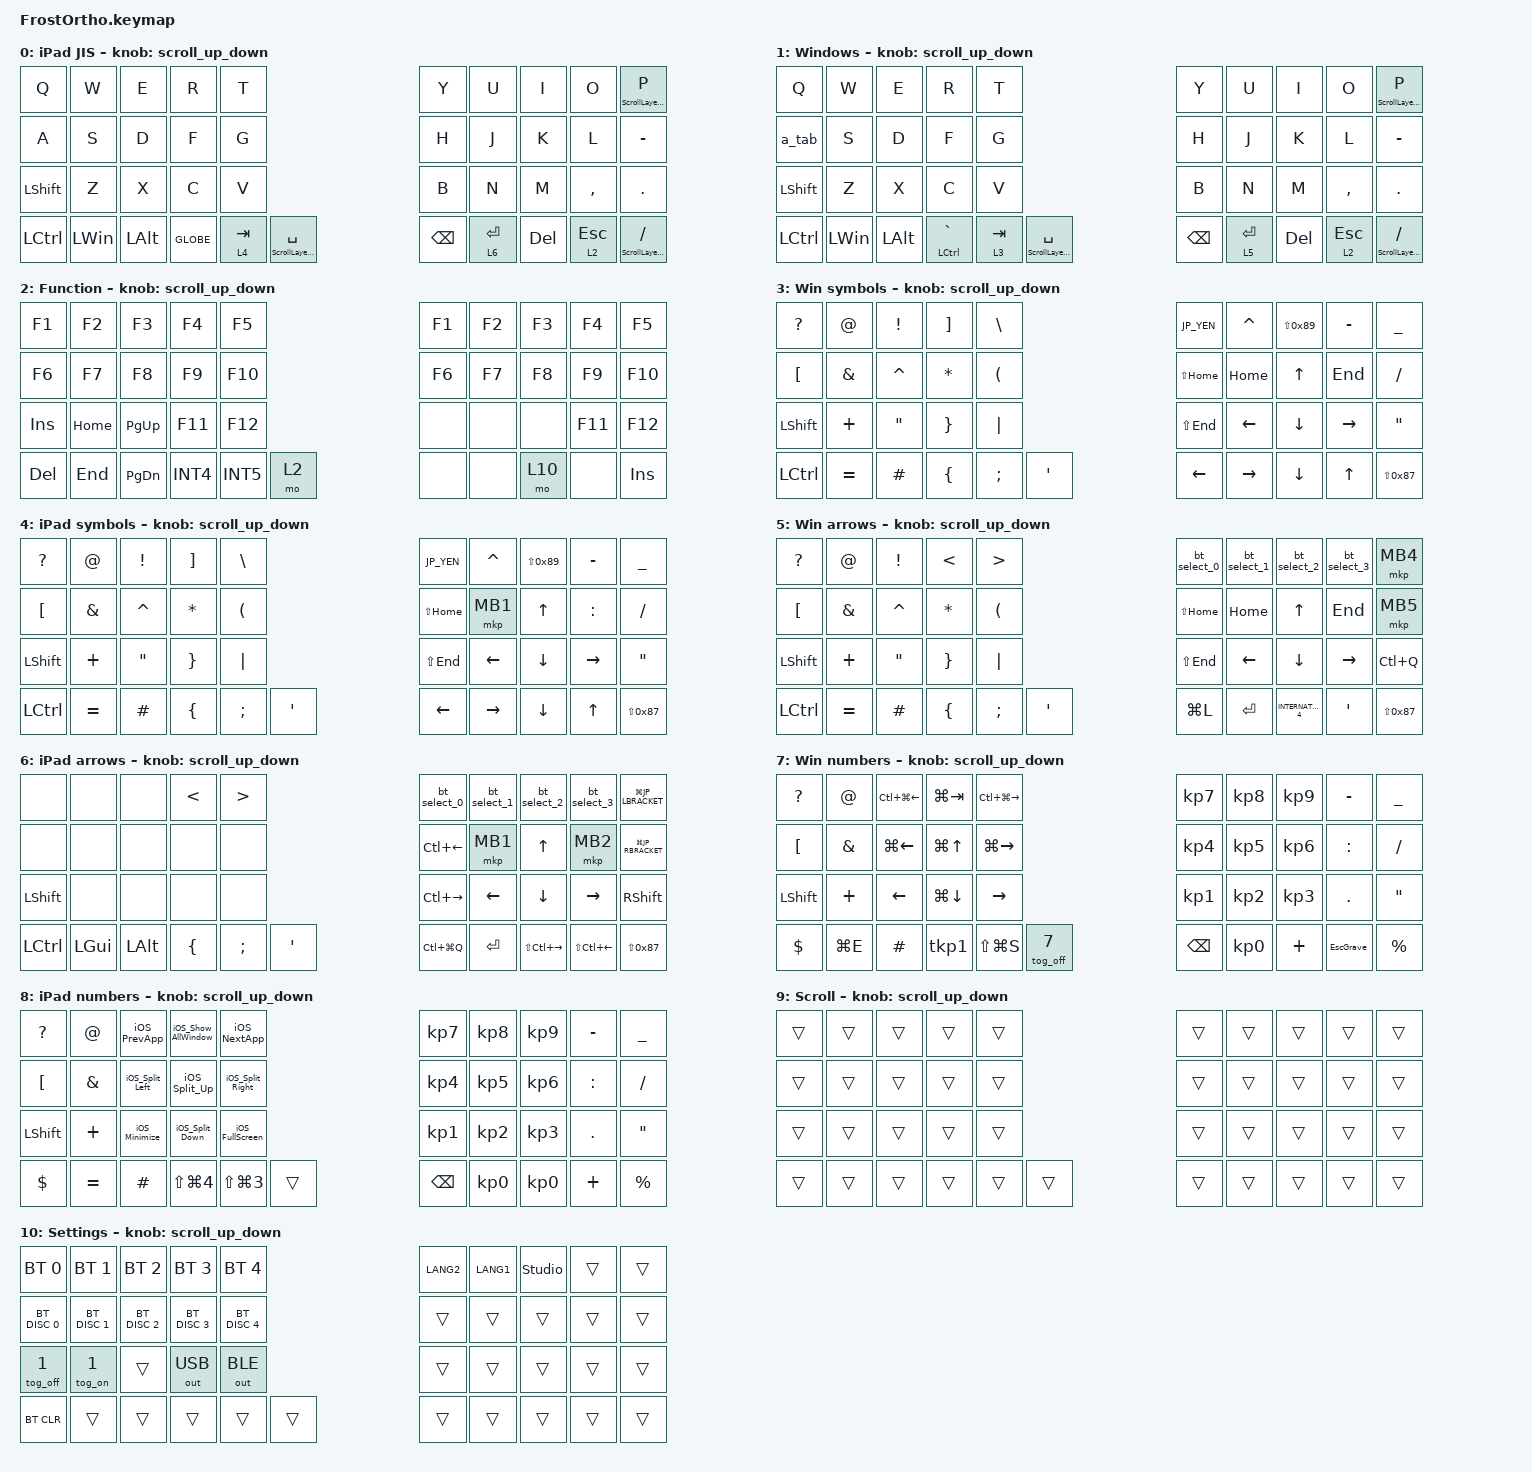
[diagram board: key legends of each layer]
#include <input/processors.dtsi>
#include <behaviors.dtsi>
#include <dt-bindings/zmk/bt.h>
#include <dt-bindings/zmk/keys.h>
#include <dt-bindings/zmk/outputs.h>
#include <dt-bindings/zmk/pointing.h>

// ---- Japanese keycode aliases (kept inline for KeymapEditor) ----
// OS設定を日本語キーボードのまま使用するための変換定義

#define JP_DQUOTE       AT                // "
#define JP_AMPERSAND    CARET             // &
#define JP_QUOTE        AMPERSAND         // '
#define JP_EQUAL        UNDER             // =
#define JP_CARET        EQUAL             // ^
#define JP_YEN          0x89              // ¥
#define JP_PLUS         COLON             // +
#define JP_TILDE        PLUS              // ~
#define JP_PIPE         LS(0x89)          // |
#define JP_AT           LEFT_BRACKET      // @
#define JP_COLON        SINGLE_QUOTE      // :
#define JP_ASTERISK     DOUBLE_QUOTES     // *
#define JP_BACKQUOTE    LEFT_BRACE        // `
#define JP_UNDERSCORE   LS(0x87)          // _
#define JP_LBRACKET     RIGHT_BRACKET     // [
#define JP_RBRACKET     BACKSLASH         // ]
#define JP_LPAREN       ASTERISK          // (
#define JP_RPAREN       LEFT_PARENTHESIS  // )
#define JP_LBRACE       RIGHT_BRACE       // {
#define JP_RBRACE       PIPE              // }
#define JP_KANA         LANGUAGE_1        // かな
#define JP_EISU         LANGUAGE_2        // 英数
#define JP_HANZEN       GRAVE             // 半角/全角

&mt {
    flavor = "balanced";
    quick-tap-ms = <0>;
};

&lt { flavor = "balanced"; };

// ---- Combos (kept inline for KeymapEditor) ----

/ {
    combos {
        compatible = "zmk,combos";

        esc {
            bindings = <&kp ESC>;
            key-positions = <0 1>;
        };

        Left_Click {
            bindings = <&mkp MB1>;
            key-positions = <16 17>;
        };

        Right_Click {
            bindings = <&mkp MB2>;
            key-positions = <18 17>;
        };

        Underbar {
            bindings = <&kp JP_UNDERSCORE>;
            key-positions = <24 14>;
        };

        Pipe {
            bindings = <&kp JP_PIPE>;
            key-positions = <13 3>;
        };

        WindowClose {
            layers = <0 4 6 8>;
            bindings = <&kp LG(W)>;
            key-positions = <8 7 9 6>;
        };

        WindowClose_win {
            layers = <1 3 5 7>;
            bindings = <&window_close>;
            key-positions = <8 7 9 6>;
        };

        ContextMenu {
            bindings = <&kp K_CONTEXT_MENU>;
            key-positions = <27 28>;
        };

        Equal {
            bindings = <&kp JP_EQUAL>;
            key-positions = <24 23>;
        };

        percent {
            bindings = <&kp PERCENT>;
            key-positions = <14 13>;
        };

        mb3 {
            bindings = <&mkp MB3>;
            key-positions = <18 17 16>;
        };

        Asterisk {
            bindings = <&kp JP_ASTERISK>;
            key-positions = <13 23>;
        };
    };
};

// ---- Macros (kept inline for KeymapEditor) ----

/ {
    macros {
        to_layer_0: to_layer_0 {
            compatible = "zmk,behavior-macro-one-param";
            #binding-cells = <1>;
            bindings = <&to 0 &macro_param_1to1 &kp MACRO_PLACEHOLDER>;
            label = "TO_LAYER_0";
        };

        tkp1: tkp1 {
            compatible = "zmk,behavior-macro";
            #binding-cells = <0>;
            bindings = <&kp LS(T) &kp R>;
            label = "TKP1";
        };

        window_close: window_close {
            compatible = "zmk,behavior-macro";
            #binding-cells = <0>;
            bindings =
                <&macro_press>,
                <&kp LEFT_ALT>,
                <&macro_wait_time 500>,
                <&macro_tap>,
                <&kp F4>,
                <&macro_wait_time 500>,
                <&macro_release>,
                <&kp LEFT_ALT>;

            label = "WINDOW_CLOSE";
        };

        bt_select_0: bt_select_0 {
            compatible = "zmk,behavior-macro";
            #binding-cells = <0>;
            bindings = <&bt BT_SEL 0>;

            label = "BT_SELECT_0";
        };

        bt_select_1: bt_select_1 {
            compatible = "zmk,behavior-macro";
            #binding-cells = <0>;
            bindings = <&bt BT_SEL 1>;

            label = "BT_SELECT_1";
        };

        bt_select_2: bt_select_2 {
            compatible = "zmk,behavior-macro";
            #binding-cells = <0>;
            bindings = <&bt BT_SEL 2>;

            label = "BT_SELECT_2";
        };

        ScrollLayer_win: ScrollLayer_win {
            compatible = "zmk,behavior-macro";
            #binding-cells = <0>;
            bindings =
                <&tog_on 7>,
                <&macro_wait_time 100>,
                <&tog_on 9>,
                <&macro_pause_for_release>,
                <&tog_off 7>,
                <&macro_wait_time 100>,
                <&tog_off 9>;

            label = "SCROLLLAYER_WIN";
        };

        ScrollLayer_iOS: ScrollLayer_iOS {
            compatible = "zmk,behavior-macro";
            #binding-cells = <0>;
            bindings =
                <&tog_on 8>,
                <&macro_wait_time 100>,
                <&tog_on 9>,
                <&macro_pause_for_release>,
                <&tog_off 8>,
                <&macro_wait_time 100>,
                <&tog_off 9>;

            label = "SCROLLLAYER_IOS";
        };

        iOS_FullScreen: iOS_FullScreen {
            compatible = "zmk,behavior-macro";
            #binding-cells = <0>;
            bindings =
                <&macro_press>,
                <&kp GLOBE>,
                <&macro_tap>,
                <&kp F>,
                <&macro_release>,
                <&kp GLOBE>;

            label = "IOS_FULLSCREEN";
        };

        iOS_Minimize: iOS_Minimize {
            compatible = "zmk,behavior-macro";
            #binding-cells = <0>;
            bindings =
                <&macro_press>,
                <&kp GLOBE>,
                <&macro_tap>,
                <&kp M>,
                <&macro_release>,
                <&kp GLOBE>;

            label = "IOS_MINIMIZE";
        };

        iOS_Split_Left: iOS_Split_Left {
            compatible = "zmk,behavior-macro";
            #binding-cells = <0>;
            bindings =
                <&macro_press>,
                <&kp LCTRL &kp GLOBE>,
                <&macro_tap>,
                <&kp LEFT_ARROW>,
                <&macro_release>,
                <&kp LCTRL &kp GLOBE>;

            label = "IOS_SPLIT_LEFT";
        };

        iOS_Split_Right: iOS_Split_Right {
            compatible = "zmk,behavior-macro";
            #binding-cells = <0>;
            bindings =
                <&macro_press>,
                <&kp LCTRL &kp GLOBE>,
                <&macro_tap>,
                <&kp RIGHT_ARROW>,
                <&macro_release>,
                <&kp LCTRL &kp GLOBE>;

            label = "IOS_SPLIT_RIGHT";
        };

        iOS_Split_Up: iOS_Split_Up {
            compatible = "zmk,behavior-macro";
            #binding-cells = <0>;
            bindings =
                <&macro_press>,
                <&kp LCTRL &kp GLOBE>,
                <&macro_tap>,
                <&kp UP_ARROW>,
                <&macro_release>,
                <&kp LCTRL &kp GLOBE>;

            label = "IOS_SPLIT_UP";
        };

        iOS_Split_Down: iOS_Split_Down {
            compatible = "zmk,behavior-macro";
            #binding-cells = <0>;
            bindings =
                <&macro_press>,
                <&kp LCTRL &kp GLOBE>,
                <&macro_tap>,
                <&kp DOWN_ARROW>,
                <&macro_release>,
                <&kp LCTRL &kp GLOBE>;

            label = "IOS_SPLIT_DOWN";
        };

        iOS_Show_AllWindow: iOS_Show_AllWindow {
            compatible = "zmk,behavior-macro";
            #binding-cells = <0>;
            bindings =
                <&macro_press>,
                <&kp GLOBE>,
                <&macro_tap>,
                <&kp UP_ARROW>,
                <&macro_release>,
                <&kp GLOBE>;

            label = "IOS_SHOW_ALLWINDOW";
        };

        iOS_NextApp: iOS_NextApp {
            compatible = "zmk,behavior-macro";
            #binding-cells = <0>;
            bindings =
                <&macro_press>,
                <&kp GLOBE>,
                <&macro_tap>,
                <&kp RIGHT_ARROW>,
                <&macro_release>,
                <&kp GLOBE>;

            label = "IOS_NEXTAPP";
        };

        iOS_PrevApp: iOS_PrevApp {
            compatible = "zmk,behavior-macro";
            #binding-cells = <0>;
            bindings =
                <&macro_press>,
                <&kp GLOBE>,
                <&macro_tap>,
                <&kp LEFT_ARROW>,
                <&macro_release>,
                <&kp GLOBE>;

            label = "IOS_PREVAPP";
        };

        bt_select_3: bt_select_3 {
            compatible = "zmk,behavior-macro";
            #binding-cells = <0>;
            bindings = <&bt BT_SEL 3>;

            label = "BT_SELECT_3";
        };

        EscGrave: EscGrave {
            compatible = "zmk,behavior-macro";
            #binding-cells = <0>;
            bindings = <&kp ESCAPE>, <&macro_wait_time 200>, <&kp GRAVE>;

            label = "ESCGRAVE";
        };
    };
};

// ---- Custom behaviors (kept inline for KeymapEditor) ----

/ {
    behaviors {
        lt_to_layer_0: lt_to_layer_0 {
            compatible = "zmk,behavior-hold-tap";
            label = "LAYER_TAP_TO_0";
            bindings = <&mo>, <&to_layer_0>;

            #binding-cells = <2>;
            tapping-term-ms = <200>;
        };

        scroll_up_down: behavior_sensor_rotate_mouse_wheel_up_down {
            compatible = "zmk,behavior-sensor-rotate";
            #sensor-binding-cells = <0>;

            // Two fixed wheel units per detent; keep the confirmed direction.

            bindings = <&enc_whl 1>, <&enc_whl 0>;

            tap-ms = <0>;
        };

        enc_whl: encoder_wheel_step {
            compatible = "primeorb,behavior-wheel-step";
            #binding-cells = <1>;
            display-name = "Encoder wheel step (0 down, 1 up)";
        };

        tog_on: toggle_layer_on_only {
            compatible = "zmk,behavior-toggle-layer";
            #binding-cells = <1>;
            display-name = "Toggle Layer On";
            toggle-mode = "on";
        };

        tog_off: toggle_layer_off_only {
            compatible = "zmk,behavior-toggle-layer";
            #binding-cells = <1>;
            display-name = "Toggle Layer Off";
            toggle-mode = "off";
        };

        lt_ScrollLayer_win: lt_ScrollLayer_win {
            compatible = "zmk,behavior-hold-tap";
            label = "LT_SCROLLLAYER_WIN";
            bindings = <&ScrollLayer_win>, <&kp>;

            #binding-cells = <2>;
            tapping-term-ms = <200>;
            flavor = "tap-preferred";
        };

        lt_ScrollLayer_iOS: lt_ScrollLayer_iOS {
            compatible = "zmk,behavior-hold-tap";
            label = "LT_SCROLLLAYER_IOS";
            bindings = <&ScrollLayer_iOS>, <&kp>;

            #binding-cells = <2>;
            tapping-term-ms = <200>;
            flavor = "tap-preferred";
        };

        a_tab: a_tab {
            compatible = "zmk,behavior-mod-morph";
            label = "A_TAB";
            bindings = <&kp A>, <&kp TAB>;

            #binding-cells = <0>;
            mods = <(MOD_LALT)>;
            keep-mods = <(MOD_LALT)>;
        };

        LangChange: LangChange {
            compatible = "zmk,behavior-tap-dance";
            label = "LANGCHANGE";
            #binding-cells = <0>;
            bindings = <&lt 2 LANG1>, <&kp LANG2>, <&kp INT4>;
        };

        mod_zy: mod_zy {
            compatible = "zmk,behavior-mod-morph";
            label = "MOD_ZY";
            bindings = <&mt LEFT_ALT LC(Z)>, <&kp LC(Y)>;

            #binding-cells = <0>;
            mods = <(MOD_LCTL|MOD_LSFT)>;
        };
    };
};

/ {
    keymap {
        compatible = "zmk,keymap";

        iOS_default_layer {
            display-name = "iPad JIS";
            bindings = <
                &kp Q  &kp W  &kp E  &kp R  &kp T  &kp Y  &kp U  &kp I  &kp O  &lt_ScrollLayer_iOS 0 P
                &kp A  &kp S  &kp D  &kp F  &kp G  &kp H  &kp J  &kp K  &kp L  &kp MINUS
                &kp LEFT_SHIFT  &kp Z  &kp X  &kp C  &kp V  &kp B  &kp N  &kp M  &kp COMMA  &kp PERIOD
                &kp LCTRL  &kp LEFT_WIN  &kp LEFT_ALT  &kp GLOBE  &lt 4 TAB  &lt_ScrollLayer_iOS 0 SPACE  &kp BACKSPACE  &lt 6 ENTER  &kp DELETE  &lt 2 ESC  &lt_ScrollLayer_iOS 0 SLASH
            >;
            sensor-bindings = <&scroll_up_down>;
        };

        default_layer {
            display-name = "Windows";
            bindings = <
                &kp Q  &kp W  &kp E  &kp R  &kp T  &kp Y  &kp U  &kp I  &kp O  &lt_ScrollLayer_win 0 P
                &a_tab  &kp S  &kp D  &kp F  &kp G  &kp H  &kp J  &kp K  &kp L  &kp MINUS
                &kp LEFT_SHIFT  &kp Z  &kp X  &kp C  &kp V  &kp B  &kp N  &kp M  &kp COMMA  &kp PERIOD
                &kp LCTRL  &kp LEFT_WIN  &kp LEFT_ALT  &mt LCTRL GRAVE  &lt 3 TAB  &lt_ScrollLayer_win 0 SPACE  &kp BACKSPACE  &lt 5 ENTER  &kp DELETE  &lt 2 ESC  &lt_ScrollLayer_win 0 SLASH
            >;
            sensor-bindings = <&scroll_up_down>;
        };

        win_FUNCTION {
            display-name = "Function";
            bindings = <
                &kp F1  &kp F2  &kp F3  &kp F4  &kp F5  &kp F1  &kp F2  &kp F3  &kp F4  &kp F5
                &kp F6  &kp F7  &kp F8  &kp F9  &kp F10  &kp F6  &kp F7  &kp F8  &kp F9  &kp F10
                &kp INSERT  &kp HOME  &kp PAGE_UP  &kp F11  &kp F12  &none  &none  &none  &kp F11  &kp F12
                &kp DELETE  &kp END  &kp PAGE_DOWN  &kp INT4  &kp INT5  &mo 2  &none  &none  &mo 10  &none  &kp INSERT
            >;
            sensor-bindings = <&scroll_up_down>;
        };

        win_SYMBOL {
            display-name = "Win symbols";
            bindings = <
                &kp QUESTION  &kp JP_DQUOTE  &kp EXCLAMATION  &kp JP_LBRACKET  &kp JP_RBRACKET  &kp JP_YEN  &kp JP_AMPERSAND  &kp JP_PIPE  &kp MINUS  &kp JP_EQUAL
                &kp JP_AT  &kp JP_QUOTE  &kp JP_AMPERSAND  &kp JP_LPAREN  &kp JP_RPAREN  &kp LS(HOME)  &kp HOME  &kp UP_ARROW  &kp END  &kp SLASH
                &kp LEFT_SHIFT  &kp JP_TILDE  &kp JP_ASTERISK  &kp JP_LBRACE  &kp JP_RBRACE  &kp LS(END)  &kp LEFT_ARROW  &kp DOWN_ARROW  &kp RIGHT_ARROW  &kp JP_ASTERISK
                &kp LCTRL  &kp JP_CARET  &kp HASH  &kp JP_BACKQUOTE  &kp SEMICOLON  &kp JP_COLON  &kp LEFT_ARROW  &kp RIGHT_ARROW  &kp DOWN_ARROW  &kp UP_ARROW  &kp JP_UNDERSCORE
            >;
            sensor-bindings = <&scroll_up_down>;
        };

        iOS_SYMBOL {
            display-name = "iPad symbols";
            bindings = <
                &kp QUESTION  &kp JP_DQUOTE  &kp EXCLAMATION  &kp JP_LBRACKET  &kp JP_RBRACKET  &kp JP_YEN  &kp JP_AMPERSAND  &kp JP_PIPE  &kp MINUS  &kp JP_EQUAL
                &kp JP_AT  &kp JP_QUOTE  &kp JP_AMPERSAND  &kp JP_LPAREN  &kp JP_RPAREN  &kp LS(HOME)  &mkp MB1  &kp UP_ARROW  &kp JP_PLUS  &kp SLASH
                &kp LEFT_SHIFT  &kp JP_TILDE  &kp JP_ASTERISK  &kp JP_LBRACE  &kp JP_RBRACE  &kp LS(END)  &kp LEFT_ARROW  &kp DOWN_ARROW  &kp RIGHT_ARROW  &kp JP_ASTERISK
                &kp LEFT_CONTROL  &kp JP_CARET  &kp HASH  &kp JP_BACKQUOTE  &kp SEMICOLON  &kp JP_COLON  &kp LEFT_ARROW  &kp RIGHT_ARROW  &kp DOWN_ARROW  &kp UP_ARROW  &kp JP_UNDERSCORE
            >;
            sensor-bindings = <&scroll_up_down>;
        };

        win_ARROW {
            display-name = "Win arrows";
            bindings = <
                &kp QUESTION  &kp JP_DQUOTE  &kp EXCLAMATION  &kp LESS_THAN  &kp GREATER_THAN  &bt_select_0  &bt_select_1  &bt_select_2  &bt_select_3  &mkp MB4
                &kp JP_AT  &kp JP_QUOTE  &kp JP_AMPERSAND  &kp JP_LPAREN  &kp JP_RPAREN  &kp LS(HOME)  &kp HOME  &kp UP_ARROW  &kp END  &mkp MB5
                &kp LEFT_SHIFT  &kp JP_TILDE  &kp JP_ASTERISK  &kp JP_LBRACE  &kp JP_RBRACE  &kp LS(END)  &kp LEFT_ARROW  &kp DOWN_ARROW  &kp RIGHT_ARROW  &kp LC(Q)
                &kp LEFT_CONTROL  &kp JP_CARET  &kp HASH  &kp JP_BACKQUOTE  &kp SEMICOLON  &kp JP_COLON  &kp LG(L)  &kp ENTER  &kp INTERNATIONAL_4  &kp JP_COLON  &kp JP_UNDERSCORE
            >;
            sensor-bindings = <&scroll_up_down>;
        };

        iOS_ARROW {
            display-name = "iPad arrows";
            bindings = <
                &none  &none  &none  &kp LESS_THAN  &kp GREATER_THAN  &bt_select_0  &bt_select_1  &bt_select_2  &bt_select_3  &kp LG(JP_LBRACKET)
                &none  &none  &none  &none  &none  &kp LC(LEFT_ARROW)  &mkp MB1  &kp UP_ARROW  &mkp MB2  &kp LG(JP_RBRACKET)
                &kp LEFT_SHIFT  &none  &none  &none  &none  &kp LC(RIGHT_ARROW)  &kp LEFT_ARROW  &kp DOWN_ARROW  &kp RIGHT_ARROW  &kp RIGHT_SHIFT
                &kp LEFT_CONTROL  &kp LEFT_GUI  &kp LEFT_ALT  &kp JP_BACKQUOTE  &kp SEMICOLON  &kp JP_COLON  &kp LC(LG(Q))  &kp ENTER  &kp LS(LC(RIGHT_ARROW))  &kp LS(LC(LEFT_ARROW))  &kp JP_UNDERSCORE
            >;
            sensor-bindings = <&scroll_up_down>;
        };

        Num {
            display-name = "Win numbers";
            bindings = <
                &kp QUESTION  &kp JP_DQUOTE  &kp LC(LG(LEFT_ARROW))  &kp LG(TAB)  &kp LC(LG(RIGHT_ARROW))  &kp KP_NUMBER_7  &kp KP_NUMBER_8  &kp KP_NUMBER_9  &kp MINUS  &kp JP_EQUAL
                &kp JP_AT  &kp JP_QUOTE  &kp LG(LEFT_ARROW)  &kp LG(UP_ARROW)  &kp LG(RIGHT_ARROW)  &kp KP_NUMBER_4  &kp KP_NUMBER_5  &kp KP_NUMBER_6  &kp JP_PLUS  &kp SLASH
                &kp LEFT_SHIFT  &kp JP_TILDE  &kp LEFT_ARROW  &kp LG(DOWN_ARROW)  &kp RIGHT_ARROW  &kp KP_NUMBER_1  &kp KP_NUMBER_2  &kp KP_NUMBER_3  &kp PERIOD  &kp JP_ASTERISK
                &kp DOLLAR  &kp LG(E)  &kp HASH  &tkp1  &kp LS(LG(S))  &tog_off 7  &kp BACKSPACE  &kp KP_N0  &kp JP_TILDE  &EscGrave  &kp PERCENT
            >;
            sensor-bindings = <&scroll_up_down>;
        };

        iOS_Num {
            display-name = "iPad numbers";
            bindings = <
                &kp QUESTION  &kp JP_DQUOTE  &iOS_PrevApp  &iOS_Show_AllWindow  &iOS_NextApp  &kp KP_NUMBER_7  &kp KP_NUMBER_8  &kp KP_NUMBER_9  &kp MINUS  &kp JP_EQUAL
                &kp JP_AT  &kp JP_QUOTE  &iOS_Split_Left  &iOS_Split_Up  &iOS_Split_Right  &kp KP_NUMBER_4  &kp KP_NUMBER_5  &kp KP_NUMBER_6  &kp JP_PLUS  &kp SLASH
                &kp LEFT_SHIFT  &kp JP_TILDE  &iOS_Minimize  &iOS_Split_Down  &iOS_FullScreen  &kp KP_NUMBER_1  &kp KP_NUMBER_2  &kp KP_NUMBER_3  &kp PERIOD  &kp JP_ASTERISK
                &kp DOLLAR  &kp JP_CARET  &kp HASH  &kp LS(LG(NUMBER_4))  &kp LS(LG(NUMBER_3))  &trans  &kp BACKSPACE  &kp KP_N0  &kp KP_N0  &kp JP_TILDE  &kp PERCENT
            >;
            sensor-bindings = <&scroll_up_down>;
        };

        Scroll {
            display-name = "Scroll";
            bindings = <
                &trans  &trans  &trans  &trans  &trans  &trans  &trans  &trans  &trans  &trans
                &trans  &trans  &trans  &trans  &trans  &trans  &trans  &trans  &trans  &trans
                &trans  &trans  &trans  &trans  &trans  &trans  &trans  &trans  &trans  &trans
                &trans  &trans  &trans  &trans  &trans  &trans  &trans  &trans  &trans  &trans  &trans
            >;
            sensor-bindings = <&scroll_up_down>;
        };

        SettingLayer {
            display-name = "Settings";
            bindings = <
                &bt BT_SEL 0  &bt BT_SEL 1  &bt BT_SEL 2  &bt BT_SEL 3  &bt BT_SEL 4  &kp LANG2  &kp LANG1  &studio_unlock  &trans  &trans
                &bt BT_DISC 0  &bt BT_DISC 1  &bt BT_DISC 2  &bt BT_DISC 3  &bt BT_DISC 4  &trans  &trans  &trans  &trans  &trans
                &tog_off 1  &tog_on 1  &trans  &out OUT_USB  &out OUT_BLE  &trans  &trans  &trans  &trans  &trans
                &bt BT_CLR  &trans  &trans  &trans  &trans  &trans  &trans  &trans  &trans  &trans  &trans
            >;
            sensor-bindings = <&scroll_up_down>;
        };
    };

    conditional_layers { compatible = "zmk,conditional-layers"; };

    encoder_wheel_listener {
        compatible = "zmk,input-listener";
        device = <&enc_whl>;
    };
};
